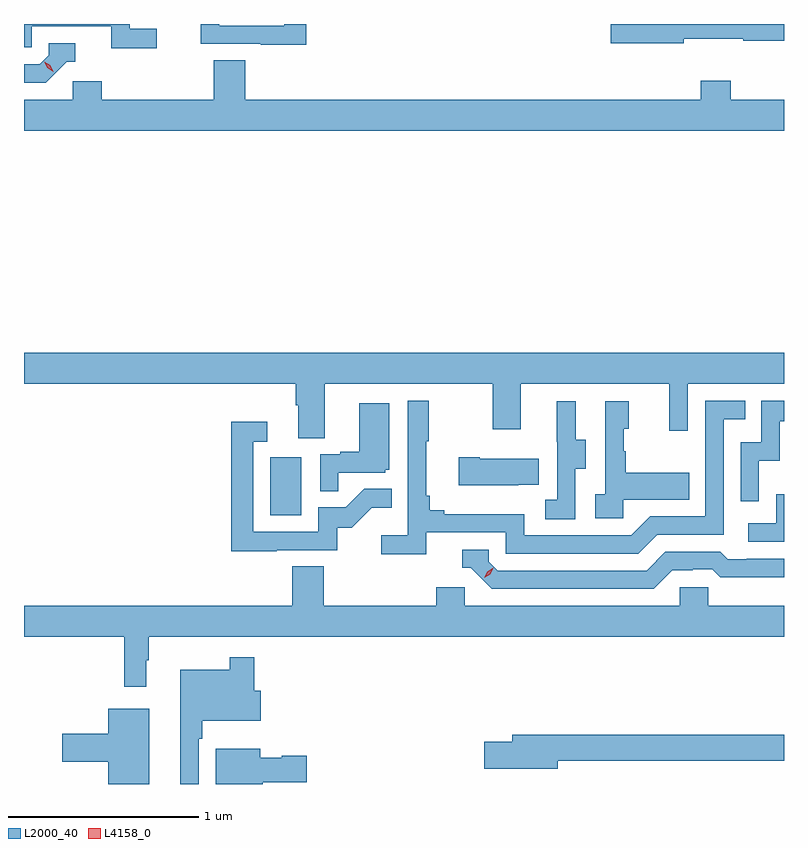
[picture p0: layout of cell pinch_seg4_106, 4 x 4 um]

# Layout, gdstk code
import gdstk
lib = gdstk.Library(unit=1e-6, precision=1e-09)
def R(c, l, rs):  # rectangles x0, y0, x1, y1
    for r in rs: c.add(gdstk.rectangle(r[:2], r[2:], *l))
def P(c, l, *ps):  # polygons
    for p in ps: c.add(gdstk.Polygon(p, *l))
L2000_40 = (2000, 40)
L4158_0 = (4158, 0)

pinch_seg4_106 = lib.new_cell('pinch_seg4_106')
R(pinch_seg4_106, L2000_40, [(1059.314,792.132,1059.478,792.439)])
P(pinch_seg4_106, L2000_40, [(1059.503,794.718),(1059.387,794.718),(1059.387,794.709),(1059.045,794.709),(1059.045,794.718),(1058.947,794.718),(1058.947,794.613),(1059.265,794.613),(1059.265,794.608),(1059.503,794.608)],
  [(1058.716,794.692),(1058.574,794.692),(1058.574,794.718),(1058.018,794.718),(1058.018,794.595),(1058.058,794.595),(1058.058,794.706),(1058.477,794.706),(1058.477,794.59),(1058.716,794.59)],
  [(1061.49,794.641),(1061.803,794.641),(1061.803,794.631),(1062.018,794.631),(1062.018,794.718),(1061.106,794.718),(1061.106,794.618),(1061.49,794.618)],
  [(1058.244,794.52),(1058.287,794.52),(1058.287,794.616),(1058.148,794.616),(1058.148,794.553),(1058.1,794.505),(1058.018,794.505),(1058.018,794.409),(1058.133,794.409)],
  [(1062.018,794.32),(1061.739,794.32),(1061.739,794.419),(1061.579,794.419),(1061.579,794.32),(1059.182,794.32),(1059.182,794.528),(1059.017,794.528),(1059.017,794.32),(1058.426,794.32),(1058.426,794.418),(1058.274,794.418),(1058.274,794.32),(1058.018,794.32),(1058.018,794.156),(1062.018,794.156)],
  [(1058.018,792.824),(1059.449,792.824),(1059.449,792.712),(1059.461,792.712),(1059.461,792.538),(1059.601,792.538),(1059.601,792.824),(1060.486,792.824),(1060.486,792.585),(1060.633,792.585),(1060.633,792.824),(1061.414,792.824),(1061.414,792.576),(1061.511,792.576),(1061.511,792.824),(1062.018,792.824),(1062.018,792.988),(1058.018,792.988)],
  [(1060.136,792.042),(1060.554,792.042),(1060.554,791.931),(1061.251,791.931),(1061.35,792.03),(1061.7,792.03),(1061.7,792.639),(1061.813,792.639),(1061.813,792.735),(1061.604,792.735),(1061.604,792.126),(1061.313,792.126),(1061.214,792.027),(1060.65,792.027),(1060.65,792.139),(1060.231,792.139),(1060.231,792.158),(1060.154,792.158),(1060.154,792.235),(1060.135,792.235),(1060.135,792.523),(1060.147,792.523),(1060.147,792.736),(1060.038,792.736),(1060.038,792.028),(1059.897,792.028),(1059.897,791.926),(1060.136,791.926)],
  [(1061.886,792.419),(1061.996,792.419),(1061.996,792.627),(1062.018,792.627),(1062.018,792.735),(1061.898,792.735),(1061.898,792.516),(1061.79,792.516),(1061.79,792.207),(1061.886,792.207)],
  [(1060.92,792.376),(1060.975,792.376),(1060.975,792.531),(1060.921,792.531),(1060.921,792.733),(1060.823,792.733),(1060.823,792.519),(1060.824,792.519),(1060.824,792.215),(1060.761,792.215),(1060.761,792.112),(1060.92,792.112)],
  [(1061.172,792.215),(1061.519,792.215),(1061.519,792.355),(1061.185,792.355),(1061.185,792.47),(1061.175,792.47),(1061.175,792.588),(1061.2,792.588),(1061.2,792.733),(1061.076,792.733),(1061.076,792.242),(1061.025,792.242),(1061.025,792.117),(1061.172,792.117)],
  [(1059.671,792.357),(1059.918,792.357),(1059.918,792.372),(1059.94,792.372),(1059.94,792.721),(1059.782,792.721),(1059.782,792.466),(1059.683,792.466),(1059.683,792.453),(1059.576,792.453),(1059.576,792.259),(1059.671,792.259)],
  [(1059.347,791.949),(1059.666,791.949),(1059.666,792.066),(1059.742,792.066),(1059.849,792.173),(1059.953,792.173),(1059.953,792.272),(1059.809,792.272),(1059.711,792.174),(1059.567,792.174),(1059.567,792.045),(1059.225,792.045),(1059.225,792.519),(1059.298,792.519),(1059.298,792.625),(1059.109,792.625),(1059.109,791.944),(1059.347,791.944)],
  [(1060.619,792.293),(1060.727,792.293),(1060.727,792.43),(1060.417,792.43),(1060.417,792.438),(1060.305,792.438),(1060.305,792.29),(1060.619,792.29)],
  [(1062.018,792.244),(1061.976,792.244),(1061.976,792.09),(1061.829,792.09),(1061.829,791.994),(1062.018,791.994)],
  [(1061.431,791.844),(1061.538,791.844),(1061.538,791.847),(1061.641,791.847),(1061.683,791.805),(1061.916,791.805),(1061.916,791.807),(1062.018,791.807),(1062.018,791.904),(1061.821,791.904),(1061.821,791.901),(1061.722,791.901),(1061.683,791.94),(1061.394,791.94),(1061.295,791.841),(1060.512,791.841),(1060.464,791.889),(1060.464,791.952),(1060.325,791.952),(1060.325,791.856),(1060.368,791.856),(1060.479,791.745),(1061.332,791.745)],
  [(1058.662,791.369),(1058.674,791.369),(1058.674,791.492),(1062.018,791.492),(1062.018,791.656),(1061.619,791.656),(1061.619,791.754),(1061.469,791.754),(1061.469,791.656),(1060.338,791.656),(1060.338,791.754),(1060.187,791.754),(1060.187,791.656),(1059.596,791.656),(1059.596,791.864),(1059.431,791.864),(1059.431,791.656),(1058.018,791.656),(1058.018,791.492),(1058.545,791.492),(1058.545,791.229),(1058.662,791.229)],
  [(1058.937,790.955),(1058.957,790.955),(1058.957,791.051),(1059.265,791.051),(1059.265,791.209),(1059.23,791.209),(1059.23,791.386),(1059.102,791.386),(1059.102,791.32),(1058.84,791.32),(1058.84,790.718),(1058.937,790.718)],
  [(1058.677,791.113),(1058.462,791.113),(1058.462,790.982),(1058.22,790.982),(1058.22,790.835),(1058.462,790.835),(1058.462,790.718),(1058.677,790.718)],
  [(1060.828,790.84),(1062.018,790.84),(1062.018,790.976),(1060.589,790.976),(1060.589,790.94),(1060.44,790.94),(1060.44,790.798),(1060.828,790.798)],
  [(1059.275,790.726),(1059.505,790.726),(1059.505,790.868),(1059.375,790.868),(1059.375,790.855),(1059.262,790.855),(1059.262,790.903),(1059.026,790.903),(1059.026,790.718),(1059.275,790.718)])
P(pinch_seg4_106, L4158_0, [(1060.44,791.803),(1060.44,791.803),(1060.456,791.836),(1060.487,791.856),(1060.487,791.856),(1060.487,791.856),(1060.471,791.823),(1060.44,791.803)],
  [(1058.172,794.467),(1058.141,794.487),(1058.125,794.519),(1058.125,794.52),(1058.125,794.52),(1058.156,794.5),(1058.172,794.468),(1058.172,794.467)])

lib.write_gds('pinch_seg4_106.gds')
